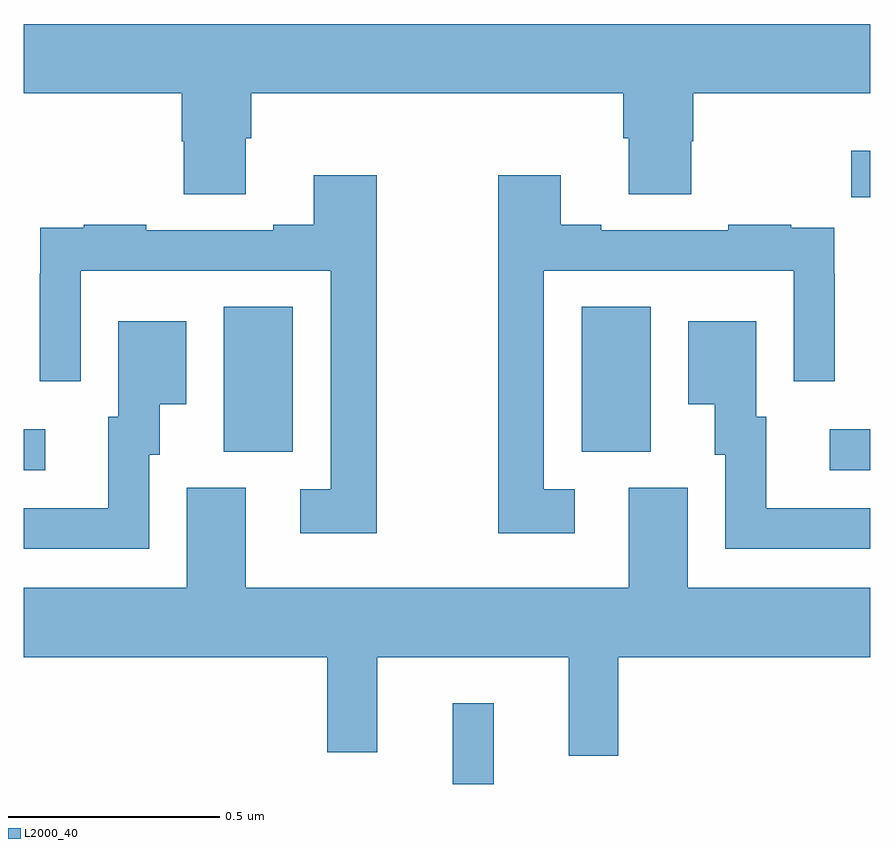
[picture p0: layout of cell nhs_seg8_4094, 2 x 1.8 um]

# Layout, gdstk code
import gdstk
lib = gdstk.Library(unit=1e-6, precision=1e-09)
def R(c, l, rs):  # rectangles x0, y0, x1, y1
    for r in rs: c.add(gdstk.rectangle(r[:2], r[2:], *l))
def P(c, l, *ps):  # polygons
    for p in ps: c.add(gdstk.Polygon(p, *l))
L2000_40 = (2000, 40)

nhs_seg8_4094 = lib.new_cell('nhs_seg8_4094')
R(nhs_seg8_4094, L2000_40, [(167.013,1082.9,167.11,1083.091), (166,1083.642,166.051,1083.738), (167.904,1083.642,168,1083.738), (166.472,1083.685,166.636,1084.028), (167.318,1083.685,167.482,1084.028), (167.955,1084.286,168,1084.396)])
P(nhs_seg8_4094, L2000_40, [(166.525,1084.426),(166.538,1084.426),(166.538,1084.532),(167.417,1084.532),(167.417,1084.426),(167.429,1084.426),(167.429,1084.294),(167.577,1084.294),(167.577,1084.419),(167.582,1084.419),(167.582,1084.532),(168,1084.532),(168,1084.696),(166,1084.696),(166,1084.532),(166.373,1084.532),(166.373,1084.419),(166.378,1084.419),(166.378,1084.294),(166.525,1084.294)],
  [(167.302,1083.597),(167.229,1083.597),(167.229,1084.113),(167.82,1084.113),(167.82,1083.852),(167.916,1083.852),(167.916,1084.106),(167.915,1084.106),(167.915,1084.215),(167.813,1084.215),(167.813,1084.222),(167.665,1084.222),(167.665,1084.209),(167.365,1084.209),(167.365,1084.222),(167.269,1084.222),(167.269,1084.339),(167.121,1084.339),(167.121,1083.492),(167.302,1083.492)],
  [(166.834,1084.339),(166.685,1084.339),(166.685,1084.222),(166.589,1084.222),(166.589,1084.209),(166.289,1084.209),(166.289,1084.222),(166.141,1084.222),(166.141,1084.215),(166.039,1084.215),(166.039,1084.106),(166.038,1084.106),(166.038,1083.852),(166.134,1083.852),(166.134,1084.113),(166.725,1084.113),(166.725,1083.597),(166.653,1083.597),(166.653,1083.492),(166.834,1083.492)],
  [(168,1083.552),(167.755,1083.552),(167.755,1083.768),(167.731,1083.768),(167.731,1083.994),(167.57,1083.994),(167.57,1083.797),(167.633,1083.797),(167.633,1083.678),(167.658,1083.678),(167.658,1083.456),(168,1083.456)],
  [(166.296,1083.678),(166.321,1083.678),(166.321,1083.797),(166.384,1083.797),(166.384,1083.994),(166.223,1083.994),(166.223,1083.768),(166.199,1083.768),(166.199,1083.552),(166,1083.552),(166,1083.456),(166.296,1083.456)],
  [(167.405,1083.2),(168,1083.2),(168,1083.364),(167.569,1083.364),(167.569,1083.6),(167.429,1083.6),(167.429,1083.364),(166.525,1083.364),(166.525,1083.6),(166.385,1083.6),(166.385,1083.364),(166,1083.364),(166,1083.2),(166.717,1083.2),(166.717,1082.975),(166.835,1082.975),(166.835,1083.2),(167.288,1083.2),(167.288,1082.967),(167.405,1082.967)])

lib.write_gds('nhs_seg8_4094.gds')
